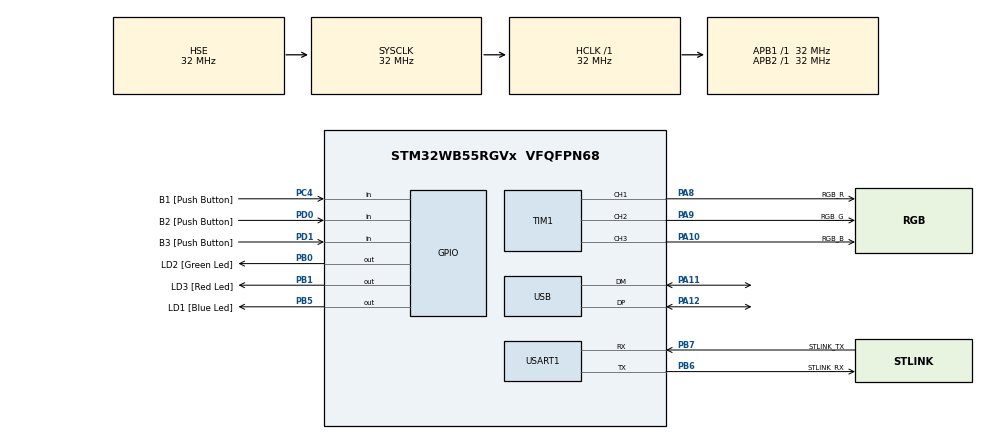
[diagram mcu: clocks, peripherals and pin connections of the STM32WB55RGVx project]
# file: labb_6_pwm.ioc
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Mcu.Family=STM32WB
RCC.CortexFreq_Value=32000000
RCC.SMPSCLockSelectionVirtualVirtual=RCC_SMPSCLKSOURCE_HSI
USART1.WordLength=WORDLENGTH_7B
PA14.GPIO_Label=JTCK
PD0.GPIO_Label=B2 [Push Button]
PA11.Mode=Device
PB0.GPIO_Label=LD2 [Green Led]
PB6.GPIO_Label=STLINK_RX
RCC.SYSCLKSource=RCC_SYSCLKSOURCE_HSE
ProjectManager.StackSize=0x400
PA12.Signal=USB_DP
RCC.HCLKFreq_Value=32000000
RCC.APB2TimFreq_Value=32000000
PB6.Signal=USART1_TX
PB6.Mode=Asynchronous
PD0.Signal=GPIO_Input
OSC_OUT.Mode=HSE-External-Oscillator
OSC_OUT.Signal=RCC_OSC_OUT
RCC.AHBFreq_Value=32000000
RCC.HSE_VALUE=32000000
PB3.Mode=Trace_Asynchronous_SW
PD1.GPIO_Label=B3 [Push Button]
PC14-OSC32_IN.Mode=LSE-External-Oscillator
PC4.GPIO_Label=B1 [Push Button]
TIM1.Channel-PWM\ Generation1\ CH1=TIM_CHANNEL_1
PA14.Mode=Trace_Asynchronous_SW
PB1.GPIO_Label=LD3 [Red Led]
PA10.GPIO_Label=RGB_B
PB7.Signal=USART1_RX
PA8.Signal=S_TIM1_CH1
VP_TIM1_VS_ClockSourceINT.Mode=Internal
RCC.APB3Freq_Value=16000000
PB7.GPIO_Label=STLINK_TX
Mcu.Package=VFQFPN68
PB1.Signal=GPIO_Output
PA10.Signal=S_TIM1_CH3
PB5.GPIO_Label=LD1 [Blue Led]
RCC.APB1TimFreq_Value=32000000
RCC.SMPSDivider=1
RCC.HSI48_VALUE=48000000
RCC.PLLSAI1N=24
PB3.GPIO_Label=JTDO
PB7.GPIO_PuPd=GPIO_PULLUP
PC15-OSC32_OUT.Mode=LSE-External-Oscillator
PC13.Signal=SYS_WKUP2
PA9.GPIO_Label=RGB_G
PB6.GPIO_PuPd=GPIO_PULLUP
PC4.Signal=GPIO_Input
PD1.Signal=GPIO_Input
PC14-OSC32_IN.Signal=RCC_OSC32_IN
USART1.VirtualMode-Asynchronous=VM_ASYNC
PA13.Signal=SYS_JTMS-SWDIO
PA8.GPIO_Label=RGB_R
SH.S_TIM1_CH1.0=TIM1_CH1,PWM Generation1 CH1
ProjectManager.TargetToolchain=STM32CubeIDE
PA9.Signal=S_TIM1_CH2
TIM1.Channel-PWM\ Generation2\ CH2=TIM_CHANNEL_2
OSC_IN.Signal=RCC_OSC_IN
RCC.USBFreq_Value=48000000
PC15-OSC32_OUT.Signal=RCC_OSC32_OUT
RCC.SMPSCLockSelectionVirtual=RCC_SMPSCLKSOURCE_HSI
board=NUCLEO-WB55RG
RCC.VCOOutputFreq_Value=128000000
RCC.APB2Freq_Value=32000000
SH.S_TIM1_CH2.0=TIM1_CH2,PWM Generation2 CH2
RCC.ADCFreq_Value=48000000
PA13.Mode=Trace_Asynchronous_SW
PC13.Mode=SYS_WakeUp1
Mcu.Name=STM32WB55RGVx
PA13.GPIO_Label=JTMS
PB3.Signal=SYS_JTDO-SWO
RCC.SYSCLKFreq_VALUE=32000000
PB5.Signal=GPIO_Output
PA12.Mode=Device
OSC_IN.Mode=HSE-External-Oscillator
PB7.Mode=Asynchronous
PA11.Signal=USB_DM
PA14.Signal=SYS_JTCK-SWCLK
ProjectManager.HeapSize=0x200
SH.S_TIM1_CH3.0=TIM1_CH3,PWM Generation3 CH3
RCC.HSI_VALUE=16000000
NVIC.TIM1_UP_TIM16_IRQn=true\:0\:0\:false\:false\:true\:true\:true
NVIC.PriorityGroup=NVIC_PRIORITYGROUP_4
RCC.PLLN=32
TIM1.Channel-PWM\ Generation3\ CH3=TIM_CHANNEL_3
RCC.APB1Freq_Value=32000000
PB0.Signal=GPIO_Output

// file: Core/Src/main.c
/* USER CODE BEGIN Header */
/**
  ******************************************************************************
  * @file           : main.c
  * @brief          : Main program body
  ******************************************************************************
  * @attention
  *
  * <h2><center>&copy; Copyright (c) 2021 STMicroelectronics.
  * All rights reserved.</center></h2>
  *
  * This software component is licensed by ST under BSD 3-Clause license,
  * the "License"; You may not use this file except in compliance with the
  * License. You may obtain a copy of the License at:
  *                        opensource.org/licenses/BSD-3-Clause
  *
  ******************************************************************************
  */
/* USER CODE END Header */
#include "main.h"

/* USER CODE BEGIN Includes */
#include <math.h>

/* USER CODE END Includes */

TIM_HandleTypeDef htim1;

UART_HandleTypeDef huart1;

PCD_HandleTypeDef hpcd_USB_FS;

void SystemClock_Config(void);
static void MX_GPIO_Init(void);
static void MX_USART1_UART_Init(void);
static void MX_USB_PCD_Init(void);
static void MX_TIM1_Init(void);
/* USER CODE BEGIN PFP */
float frekvens = 2;

/* USER CODE END PFP */

int main(void)
{

  /* MCU Configuration--------------------------------------------------------*/

  /* Reset of all peripherals, Initializes the Flash interface and the Systick. */
  HAL_Init();

  /* Configure the system clock */
  SystemClock_Config();

  /* Initialize all configured peripherals */
  MX_GPIO_Init();
  MX_USART1_UART_Init();
  MX_USB_PCD_Init();
  MX_TIM1_Init();
  /* USER CODE BEGIN 2 */
  HAL_TIM_PWM_Start(&htim1, TIM_CHANNEL_1);
  HAL_TIM_PWM_Start(&htim1, TIM_CHANNEL_2);
  HAL_TIM_PWM_Start(&htim1, TIM_CHANNEL_3);
  HAL_TIM_Base_Start_IT(&htim1);

  /* USER CODE END 2 */

  /* Infinite loop */
  while (1)
  {

  }
}

void SystemClock_Config(void)
{
  RCC_OscInitTypeDef RCC_OscInitStruct = {0};
  RCC_ClkInitTypeDef RCC_ClkInitStruct = {0};
  RCC_PeriphCLKInitTypeDef PeriphClkInitStruct = {0};

  /** Macro to configure the PLL multiplication factor
  */
  __HAL_RCC_PLL_PLLM_CONFIG(RCC_PLLM_DIV1);
  /** Macro to configure the PLL clock source
  */
  __HAL_RCC_PLL_PLLSOURCE_CONFIG(RCC_PLLSOURCE_MSI);
  /** Configure LSE Drive Capability
  */
  HAL_PWR_EnableBkUpAccess();
  __HAL_RCC_LSEDRIVE_CONFIG(RCC_LSEDRIVE_LOW);
  /** Configure the main internal regulator output voltage
  */
  __HAL_PWR_VOLTAGESCALING_CONFIG(PWR_REGULATOR_VOLTAGE_SCALE1);
  /** Initializes the RCC Oscillators according to the specified parameters
  * in the RCC_OscInitTypeDef structure.
  */
  RCC_OscInitStruct.OscillatorType = RCC_OSCILLATORTYPE_HSI|RCC_OSCILLATORTYPE_HSE
                              |RCC_OSCILLATORTYPE_LSE|RCC_OSCILLATORTYPE_MSI;
  RCC_OscInitStruct.HSEState = RCC_HSE_ON;
  RCC_OscInitStruct.LSEState = RCC_LSE_ON;
  RCC_OscInitStruct.HSIState = RCC_HSI_ON;
  RCC_OscInitStruct.MSIState = RCC_MSI_ON;
  RCC_OscInitStruct.HSICalibrationValue = RCC_HSICALIBRATION_DEFAULT;
  RCC_OscInitStruct.MSICalibrationValue = RCC_MSICALIBRATION_DEFAULT;
  RCC_OscInitStruct.MSIClockRange = RCC_MSIRANGE_6;
  RCC_OscInitStruct.PLL.PLLState = RCC_PLL_NONE;
  if (HAL_RCC_OscConfig(&RCC_OscInitStruct) != HAL_OK)
  {
    Error_Handler();
  }
  /** Configure the SYSCLKSource, HCLK, PCLK1 and PCLK2 clocks dividers
  */
  RCC_ClkInitStruct.ClockType = RCC_CLOCKTYPE_HCLK4|RCC_CLOCKTYPE_HCLK2
                              |RCC_CLOCKTYPE_HCLK|RCC_CLOCKTYPE_SYSCLK
                              |RCC_CLOCKTYPE_PCLK1|RCC_CLOCKTYPE_PCLK2;
  RCC_ClkInitStruct.SYSCLKSource = RCC_SYSCLKSOURCE_HSE;
  RCC_ClkInitStruct.AHBCLKDivider = RCC_SYSCLK_DIV1;
  RCC_ClkInitStruct.APB1CLKDivider = RCC_HCLK_DIV1;
  RCC_ClkInitStruct.APB2CLKDivider = RCC_HCLK_DIV1;
  RCC_ClkInitStruct.AHBCLK2Divider = RCC_SYSCLK_DIV1;
  RCC_ClkInitStruct.AHBCLK4Divider = RCC_SYSCLK_DIV1;

  if (HAL_RCC_ClockConfig(&RCC_ClkInitStruct, FLASH_LATENCY_1) != HAL_OK)
  {
    Error_Handler();
  }
  /** Initializes the peripherals clocks
  */
  PeriphClkInitStruct.PeriphClockSelection = RCC_PERIPHCLK_SMPS|RCC_PERIPHCLK_USART1
                              |RCC_PERIPHCLK_USB;
  PeriphClkInitStruct.PLLSAI1.PLLN = 24;
  PeriphClkInitStruct.PLLSAI1.PLLP = RCC_PLLP_DIV2;
  PeriphClkInitStruct.PLLSAI1.PLLQ = RCC_PLLQ_DIV2;
  PeriphClkInitStruct.PLLSAI1.PLLR = RCC_PLLR_DIV2;
  PeriphClkInitStruct.PLLSAI1.PLLSAI1ClockOut = RCC_PLLSAI1_USBCLK;
  PeriphClkInitStruct.Usart1ClockSelection = RCC_USART1CLKSOURCE_PCLK2;
  PeriphClkInitStruct.UsbClockSelection = RCC_USBCLKSOURCE_PLLSAI1;
  PeriphClkInitStruct.SmpsClockSelection = RCC_SMPSCLKSOURCE_HSI;
  PeriphClkInitStruct.SmpsDivSelection = RCC_SMPSCLKDIV_RANGE0;
  if (HAL_RCCEx_PeriphCLKConfig(&PeriphClkInitStruct) != HAL_OK)
  {
    Error_Handler();
  }
  /** Enable MSI Auto calibration
  */
  HAL_RCCEx_EnableMSIPLLMode();
}

static void MX_TIM1_Init(void)
{

  TIM_ClockConfigTypeDef sClockSourceConfig = {0};
  TIM_MasterConfigTypeDef sMasterConfig = {0};
  TIM_OC_InitTypeDef sConfigOC = {0};
  TIM_BreakDeadTimeConfigTypeDef sBreakDeadTimeConfig = {0};

  htim1.Instance = TIM1;
  htim1.Init.Prescaler = 0;
  htim1.Init.CounterMode = TIM_COUNTERMODE_UP;
  htim1.Init.Period = 65535;
  htim1.Init.ClockDivision = TIM_CLOCKDIVISION_DIV1;
  htim1.Init.RepetitionCounter = 0;
  htim1.Init.AutoReloadPreload = TIM_AUTORELOAD_PRELOAD_DISABLE;
  if (HAL_TIM_Base_Init(&htim1) != HAL_OK)
  {
    Error_Handler();
  }
  sClockSourceConfig.ClockSource = TIM_CLOCKSOURCE_INTERNAL;
  if (HAL_TIM_ConfigClockSource(&htim1, &sClockSourceConfig) != HAL_OK)
  {
    Error_Handler();
  }
  if (HAL_TIM_PWM_Init(&htim1) != HAL_OK)
  {
    Error_Handler();
  }
  sMasterConfig.MasterOutputTrigger = TIM_TRGO_RESET;
  sMasterConfig.MasterOutputTrigger2 = TIM_TRGO2_RESET;
  sMasterConfig.MasterSlaveMode = TIM_MASTERSLAVEMODE_DISABLE;
  if (HAL_TIMEx_MasterConfigSynchronization(&htim1, &sMasterConfig) != HAL_OK)
  {
    Error_Handler();
  }
  sConfigOC.OCMode = TIM_OCMODE_PWM1;
  sConfigOC.Pulse = 0;
  sConfigOC.OCPolarity = TIM_OCPOLARITY_HIGH;
  sConfigOC.OCNPolarity = TIM_OCNPOLARITY_HIGH;
  sConfigOC.OCFastMode = TIM_OCFAST_DISABLE;
  sConfigOC.OCIdleState = TIM_OCIDLESTATE_RESET;
  sConfigOC.OCNIdleState = TIM_OCNIDLESTATE_RESET;
  if (HAL_TIM_PWM_ConfigChannel(&htim1, &sConfigOC, TIM_CHANNEL_1) != HAL_OK)
  {
    Error_Handler();
  }
  if (HAL_TIM_PWM_ConfigChannel(&htim1, &sConfigOC, TIM_CHANNEL_2) != HAL_OK)
  {
    Error_Handler();
  }
  if (HAL_TIM_PWM_ConfigChannel(&htim1, &sConfigOC, TIM_CHANNEL_3) != HAL_OK)
  {
    Error_Handler();
  }
  sBreakDeadTimeConfig.OffStateRunMode = TIM_OSSR_DISABLE;
  sBreakDeadTimeConfig.OffStateIDLEMode = TIM_OSSI_DISABLE;
  sBreakDeadTimeConfig.LockLevel = TIM_LOCKLEVEL_OFF;
  sBreakDeadTimeConfig.DeadTime = 0;
  sBreakDeadTimeConfig.BreakState = TIM_BREAK_DISABLE;
  sBreakDeadTimeConfig.BreakPolarity = TIM_BREAKPOLARITY_HIGH;
  sBreakDeadTimeConfig.BreakFilter = 0;
  sBreakDeadTimeConfig.BreakAFMode = TIM_BREAK_AFMODE_INPUT;
  sBreakDeadTimeConfig.Break2State = TIM_BREAK2_DISABLE;
  sBreakDeadTimeConfig.Break2Polarity = TIM_BREAK2POLARITY_HIGH;
  sBreakDeadTimeConfig.Break2Filter = 0;
  sBreakDeadTimeConfig.Break2AFMode = TIM_BREAK_AFMODE_INPUT;
  sBreakDeadTimeConfig.AutomaticOutput = TIM_AUTOMATICOUTPUT_DISABLE;
  if (HAL_TIMEx_ConfigBreakDeadTime(&htim1, &sBreakDeadTimeConfig) != HAL_OK)
  {
    Error_Handler();
  }
  HAL_TIM_MspPostInit(&htim1);

}

static void MX_USART1_UART_Init(void)
{

  huart1.Instance = USART1;
  huart1.Init.BaudRate = 115200;
  huart1.Init.WordLength = UART_WORDLENGTH_7B;
  huart1.Init.StopBits = UART_STOPBITS_1;
  huart1.Init.Parity = UART_PARITY_NONE;
  huart1.Init.Mode = UART_MODE_TX_RX;
  huart1.Init.HwFlowCtl = UART_HWCONTROL_NONE;
  huart1.Init.OverSampling = UART_OVERSAMPLING_16;
  huart1.Init.OneBitSampling = UART_ONE_BIT_SAMPLE_DISABLE;
  huart1.Init.ClockPrescaler = UART_PRESCALER_DIV1;
  huart1.AdvancedInit.AdvFeatureInit = UART_ADVFEATURE_NO_INIT;
  if (HAL_UART_Init(&huart1) != HAL_OK)
  {
    Error_Handler();
  }
  if (HAL_UARTEx_SetTxFifoThreshold(&huart1, UART_TXFIFO_THRESHOLD_1_8) != HAL_OK)
  {
    Error_Handler();
  }
  if (HAL_UARTEx_SetRxFifoThreshold(&huart1, UART_RXFIFO_THRESHOLD_1_8) != HAL_OK)
  {
    Error_Handler();
  }
  if (HAL_UARTEx_DisableFifoMode(&huart1) != HAL_OK)
  {
    Error_Handler();
  }

}

static void MX_USB_PCD_Init(void)
{

  hpcd_USB_FS.Instance = USB;
  hpcd_USB_FS.Init.dev_endpoints = 8;
  hpcd_USB_FS.Init.speed = PCD_SPEED_FULL;
  hpcd_USB_FS.Init.phy_itface = PCD_PHY_EMBEDDED;
  hpcd_USB_FS.Init.Sof_enable = DISABLE;
  hpcd_USB_FS.Init.low_power_enable = DISABLE;
  hpcd_USB_FS.Init.lpm_enable = DISABLE;
  hpcd_USB_FS.Init.battery_charging_enable = DISABLE;
  if (HAL_PCD_Init(&hpcd_USB_FS) != HAL_OK)
  {
    Error_Handler();
  }

}

static void MX_GPIO_Init(void)
{
  GPIO_InitTypeDef GPIO_InitStruct = {0};

  /* GPIO Ports Clock Enable */
  __HAL_RCC_GPIOC_CLK_ENABLE();
  __HAL_RCC_GPIOA_CLK_ENABLE();
  __HAL_RCC_GPIOB_CLK_ENABLE();
  __HAL_RCC_GPIOD_CLK_ENABLE();

  /*Configure GPIO pin Output Level */
  HAL_GPIO_WritePin(GPIOB, LD2_Pin|LD3_Pin|LD1_Pin, GPIO_PIN_RESET);

  /*Configure GPIO pin : B1_Pin */
  GPIO_InitStruct.Pin = B1_Pin;
  GPIO_InitStruct.Mode = GPIO_MODE_INPUT;
  GPIO_InitStruct.Pull = GPIO_NOPULL;
  HAL_GPIO_Init(B1_GPIO_Port, &GPIO_InitStruct);

  /*Configure GPIO pins : LD2_Pin LD3_Pin LD1_Pin */
  GPIO_InitStruct.Pin = LD2_Pin|LD3_Pin|LD1_Pin;
  GPIO_InitStruct.Mode = GPIO_MODE_OUTPUT_PP;
  GPIO_InitStruct.Pull = GPIO_NOPULL;
  GPIO_InitStruct.Speed = GPIO_SPEED_FREQ_LOW;
  HAL_GPIO_Init(GPIOB, &GPIO_InitStruct);

  /*Configure GPIO pins : B2_Pin B3_Pin */
  GPIO_InitStruct.Pin = B2_Pin|B3_Pin;
  GPIO_InitStruct.Mode = GPIO_MODE_INPUT;
  GPIO_InitStruct.Pull = GPIO_NOPULL;
  HAL_GPIO_Init(GPIOD, &GPIO_InitStruct);

}

/* USER CODE BEGIN 4 */
void HAL_TIM_PeriodElapsedCallback(TIM_HandleTypeDef *htim){
	if(htim->Instance==TIM1){

		static float time = 0;
		uint16_t value_red = (uint16_t)((sinf(2*M_PI*time*frekvens+0*(2*M_PI/3))+1.0)*500.0);
		uint16_t value_green = (uint16_t)((sinf(2*M_PI*time*frekvens+1*(2*M_PI/3))+1.0)*500.0);
		uint16_t value_blue = (uint16_t)((sinf(2*M_PI*time*frekvens+2*(2*M_PI/3))+1.0)*500.0);
		time +=0.001;

		__HAL_TIM_SET_COMPARE(&htim1, TIM_CHANNEL_1, value_red);
		__HAL_TIM_SET_COMPARE(&htim1, TIM_CHANNEL_2, value_green);
		__HAL_TIM_SET_COMPARE(&htim1, TIM_CHANNEL_3, value_blue);
	}
}

/* USER CODE END 4 */

void Error_Handler(void)
{
  __disable_irq();
  while (1)
  {
  }
}

/************************ (C) COPYRIGHT STMicroelectronics *****END OF FILE****/
